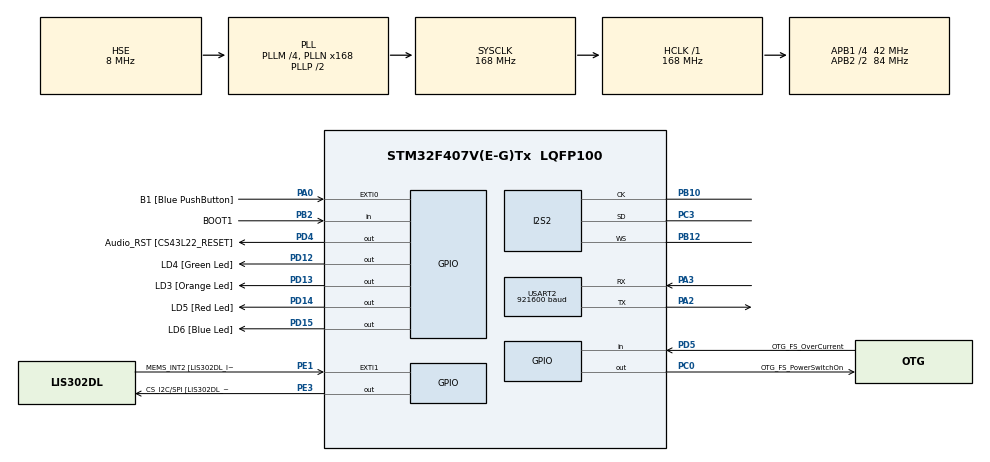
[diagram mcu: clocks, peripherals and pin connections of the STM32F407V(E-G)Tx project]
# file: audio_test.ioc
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Dma.Request0=SPI2_RX
Dma.SPI2_RX.0.Direction=DMA_PERIPH_TO_MEMORY
Dma.SPI2_RX.0.FIFOMode=DMA_FIFOMODE_DISABLE
Dma.SPI2_RX.0.Instance=DMA1_Stream3
Dma.SPI2_RX.0.MemDataAlignment=DMA_MDATAALIGN_HALFWORD
Dma.SPI2_RX.0.MemInc=DMA_MINC_ENABLE
Dma.SPI2_RX.0.Mode=DMA_CIRCULAR
Dma.SPI2_RX.0.PeriphDataAlignment=DMA_PDATAALIGN_HALFWORD
Dma.SPI2_RX.0.PeriphInc=DMA_PINC_DISABLE
Dma.SPI2_RX.0.Priority=DMA_PRIORITY_VERY_HIGH
I2S2.AudioFreq=I2S_AUDIOFREQ_32K
I2S2.ErrorAudioFreq=-0.35 %
I2S2.FullDuplexMode=I2S_FULLDUPLEXMODE_DISABLE
I2S2.Instance=SPI$Index
I2S2.Mode=I2S_MODE_MASTER_RX
I2S2.RealAudioFreq=31.887 KHz
I2S2.Standard=I2S_STANDARD_MSB
I2S2.VirtualMode=I2S_MODE_MASTER
Mcu.Family=STM32F4
Mcu.Name=STM32F407V(E-G)Tx
Mcu.Package=LQFP100
NVIC.DMA1_Stream3_IRQn=true\:0\:0\:false\:false\:true\:false\:true\:true
NVIC.PriorityGroup=NVIC_PRIORITYGROUP_4
NVIC.TIM7_IRQn=true\:15\:0\:false\:false\:true\:false\:true\:true
NVIC.TimeBase=TIM7_IRQn
NVIC.TimeBaseIP=TIM7
PA0-WKUP.GPIO_Label=B1 [Blue PushButton]
PA0-WKUP.Signal=GPXTI0
PA10.GPIO_Label=OTG_FS_ID
PA10.GPIO_Mode=GPIO_MODE_AF_PP
PA10.GPIO_PuPd=GPIO_NOPULL
PA10.GPIO_Speed=GPIO_SPEED_FREQ_LOW
PA10.Signal=USB_OTG_FS_ID
PA11.GPIO_Label=OTG_FS_DM
PA11.GPIO_Mode=GPIO_MODE_AF_PP
PA11.GPIO_PuPd=GPIO_NOPULL
PA11.GPIO_Speed=GPIO_SPEED_FREQ_LOW
PA11.Signal=USB_OTG_FS_DM
PA12.GPIO_Label=OTG_FS_DP
PA12.GPIO_Mode=GPIO_MODE_AF_PP
PA12.GPIO_PuPd=GPIO_NOPULL
PA12.GPIO_Speed=GPIO_SPEED_FREQ_LOW
PA12.Signal=USB_OTG_FS_DP
PA13.GPIO_Label=SWDIO
PA13.Mode=Trace_Asynchronous_SW
PA13.Signal=SYS_JTMS-SWDIO
PA14.GPIO_Label=SWCLK
PA14.Mode=Trace_Asynchronous_SW
PA14.Signal=SYS_JTCK-SWCLK
PA2.Mode=Asynchronous
PA2.Signal=USART2_TX
PA3.Mode=Asynchronous
PA3.Signal=USART2_RX
PA4.GPIO_Label=I2S3_WS [CS43L22_LRCK]
PA4.GPIO_Mode=GPIO_MODE_AF_PP
PA4.GPIO_PuPd=GPIO_NOPULL
PA4.GPIO_Speed=GPIO_SPEED_FREQ_LOW
PA4.Signal=I2S3_WS
PA5.GPIO_Label=SPI1_SCK [LIS302DL_SCL/SPC]
PA5.GPIO_Mode=GPIO_MODE_AF_PP
PA5.GPIO_PuPd=GPIO_NOPULL
PA5.GPIO_Speed=GPIO_SPEED_FREQ_LOW
PA5.Signal=SPI1_SCK
PA6.GPIO_Label=SPI1_MISO [LIS302DL_SDO]
PA6.GPIO_Mode=GPIO_MODE_AF_PP
PA6.GPIO_PuPd=GPIO_NOPULL
PA6.GPIO_Speed=GPIO_SPEED_FREQ_LOW
PA6.Signal=SPI1_MISO
PA7.GPIO_Label=SPI1_MOSI [LIS302DL_SDA/SDI/SDO]
PA7.GPIO_Mode=GPIO_MODE_AF_PP
PA7.GPIO_PuPd=GPIO_NOPULL
PA7.GPIO_Speed=GPIO_SPEED_FREQ_LOW
PA7.Signal=SPI1_MOSI
PA9.GPIO_Label=VBUS_FS
PA9.GPIO_Mode=GPIO_MODE_INPUT
PA9.GPIO_PuPd=GPIO_NOPULL
PA9.Signal=USB_OTG_FS_VBUS
PB10.GPIO_Mode=GPIO_MODE_AF_PP
PB10.GPIO_PuPd=GPIO_NOPULL
PB10.GPIO_Speed=GPIO_SPEED_FREQ_LOW
PB10.Mode=Half_Duplex_Master
PB10.Signal=I2S2_CK
PB12.Mode=Half_Duplex_Master
PB12.Signal=I2S2_WS
PB2.GPIO_Label=BOOT1
PB2.GPIO_Mode=GPIO_MODE_INPUT
PB2.GPIO_PuPd=GPIO_NOPULL
PB2.Signal=GPIO_Input
PB3.GPIO_Label=SWO
PB3.Mode=Trace_Asynchronous_SW
PB3.Signal=SYS_JTDO-SWO
PB6.GPIO_Label=Audio_SCL [CS43L22_SCL]
PB6.GPIO_Mode=GPIO_MODE_AF_OD
PB6.GPIO_PuPd=GPIO_NOPULL
PB6.GPIO_Speed=GPIO_SPEED_FREQ_LOW
PB6.Signal=I2C1_SCL
PB9.GPIO_Label=Audio_SDA [CS43L22_SDA]
PB9.GPIO_Mode=GPIO_MODE_AF_OD
PB9.GPIO_PuPd=GPIO_NOPULL
PB9.GPIO_Speed=GPIO_SPEED_FREQ_LOW
PB9.Signal=I2C1_SDA
PC0.GPIO_Label=OTG_FS_PowerSwitchOn
PC0.GPIO_PuPd=GPIO_NOPULL
PC0.GPIO_Speed=GPIO_SPEED_FREQ_LOW
PC0.PinState=GPIO_PIN_SET
PC0.Signal=GPIO_Output
PC10.GPIO_Label=I2S3_SCK [CS43L22_SCLK]
PC10.GPIO_Mode=GPIO_MODE_AF_PP
PC10.GPIO_PuPd=GPIO_NOPULL
PC10.GPIO_Speed=GPIO_SPEED_FREQ_LOW
PC10.Signal=I2S3_CK
PC12.GPIO_Label=I2S3_SD [CS43L22_SDIN]
PC12.GPIO_Mode=GPIO_MODE_AF_PP
PC12.GPIO_PuPd=GPIO_NOPULL
PC12.GPIO_Speed=GPIO_SPEED_FREQ_LOW
PC12.Signal=I2S3_SD
PC14-OSC32_IN.GPIO_Label=PC14-OSC32_IN
PC14-OSC32_IN.Signal=RCC_OSC32_IN
PC15-OSC32_OUT.GPIO_Label=PC15-OSC32_OUT
PC15-OSC32_OUT.Signal=RCC_OSC32_OUT
PC3.GPIO_Mode=GPIO_MODE_AF_PP
PC3.GPIO_PuPd=GPIO_NOPULL
PC3.GPIO_Speed=GPIO_SPEED_FREQ_LOW
PC3.Mode=Half_Duplex_Master
PC3.Signal=I2S2_SD
PC7.GPIO_Label=I2S3_MCK [CS43L22_MCLK]
PC7.GPIO_Mode=GPIO_MODE_AF_PP
PC7.GPIO_PuPd=GPIO_NOPULL
PC7.GPIO_Speed=GPIO_SPEED_FREQ_LOW
PC7.Signal=I2S3_MCK
PD12.GPIO_Label=LD4 [Green Led]
PD12.GPIO_PuPd=GPIO_NOPULL
PD12.GPIO_Speed=GPIO_SPEED_FREQ_LOW
PD12.Signal=GPIO_Output
PD13.GPIO_Label=LD3 [Orange Led]
PD13.GPIO_PuPd=GPIO_NOPULL
PD13.GPIO_Speed=GPIO_SPEED_FREQ_LOW
PD13.Signal=GPIO_Output
PD14.GPIO_Label=LD5 [Red Led]
PD14.GPIO_PuPd=GPIO_NOPULL
PD14.GPIO_Speed=GPIO_SPEED_FREQ_LOW
PD14.Signal=GPIO_Output
PD15.GPIO_Label=LD6 [Blue Led]
PD15.GPIO_PuPd=GPIO_NOPULL
PD15.GPIO_Speed=GPIO_SPEED_FREQ_LOW
PD15.Signal=GPIO_Output
PD4.GPIO_Label=Audio_RST [CS43L22_RESET]
PD4.GPIO_PuPd=GPIO_NOPULL
PD4.GPIO_Speed=GPIO_SPEED_FREQ_LOW
PD4.Signal=GPIO_Output
PD5.GPIO_Label=OTG_FS_OverCurrent
PD5.GPIO_Mode=GPIO_MODE_INPUT
PD5.GPIO_PuPd=GPIO_NOPULL
PD5.Signal=GPIO_Input
PDM2PCM.CHANNEL1_endianness=PDM_FILTER_ENDIANNESS_LE
PDM2PCM.CHANNEL1_in_ptr_channels=1
PDM2PCM.CHANNEL1_mic_gain=20
PDM2PCM.CHANNEL1_out_ptr_channels=1
PE1.GPIO_Label=MEMS_INT2 [LIS302DL_INT2]
PE1.GPIO_ModeDefaultEXTI=GPIO_MODE_EVT_RISING
PE1.GPIO_PuPd=GPIO_NOPULL
PE1.Signal=GPXTI1
PE3.GPIO_Label=CS_I2C/SPI [LIS302DL_CS_I2C/SPI]
PE3.GPIO_PuPd=GPIO_NOPULL
PE3.GPIO_Speed=GPIO_SPEED_FREQ_LOW
PE3.Signal=GPIO_Output
PH0-OSC_IN.GPIO_Label=PH0-OSC_IN
PH0-OSC_IN.Mode=HSE-External-Oscillator
PH0-OSC_IN.Signal=RCC_OSC_IN
PH1-OSC_OUT.GPIO_Label=PH1-OSC_OUT
PH1-OSC_OUT.Mode=HSE-External-Oscillator
PH1-OSC_OUT.Signal=RCC_OSC_OUT
ProjectManager.HeapSize=0x200
ProjectManager.StackSize=0x400
ProjectManager.TargetToolchain=STM32CubeIDE
RCC.48MHZClocksFreq_Value=48000000
RCC.AHBFreq_Value=168000000
RCC.APB1CLKDivider=RCC_HCLK_DIV4
RCC.APB1Freq_Value=42000000
RCC.APB1TimFreq_Value=84000000
RCC.APB2CLKDivider=RCC_HCLK_DIV2
RCC.APB2Freq_Value=84000000
RCC.APB2TimFreq_Value=168000000
RCC.CortexFreq_Value=168000000
RCC.HCLKFreq_Value=168000000
RCC.HSE_VALUE=8000000
RCC.HSI_VALUE=16000000
RCC.LSE_VALUE=32768
RCC.PLLI2SN=50
RCC.PLLM=4
RCC.PLLN=168
RCC.PLLQ=7
RCC.PLLSourceVirtual=RCC_PLLSOURCE_HSE
RCC.SYSCLKFreq_VALUE=168000000
RCC.SYSCLKSource=RCC_SYSCLKSOURCE_PLLCLK
RCC.VCOOutputFreq_Value=336000000
USART2.BaudRate=921600
USART2.VirtualMode=VM_ASYNC
VP_CRC_VS_CRC.Mode=CRC_Activate
VP_PDM2PCM_VS_PDM2PCM.Mode=PDM2PCM_Channel
VP_SYS_VS_tim7.Mode=TIM7
board=STM32F407G-DISC1

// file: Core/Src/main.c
/* USER CODE BEGIN Header */
/**
  ******************************************************************************
  * @file           : main.c
  * @brief          : Main program body
  ******************************************************************************
  * @attention
  *
  * Copyright (c) 2026 STMicroelectronics.
  * All rights reserved.
  *
  * This software is licensed under terms that can be found in the LICENSE file
  * in the root directory of this software component.
  * If no LICENSE file comes with this software, it is provided AS-IS.
  *
  ******************************************************************************
  */
/* USER CODE END Header */
#include "main.h"
#include "pdm2pcm.h"

/* USER CODE BEGIN Includes */
#include <string.h>
/* USER CODE END Includes */

CRC_HandleTypeDef hcrc;

I2S_HandleTypeDef hi2s2;
DMA_HandleTypeDef hdma_spi2_rx;

UART_HandleTypeDef huart2;

/* USER CODE BEGIN PV */
#define PDM_BUFFER_SIZE 128  // 64 * 2 (Ping-Pong)
#define PCM_BUFFER_SIZE 32   // 16 * 2 (Ping-Pong)
#define RECORD_LENGTH 32000  // 2 seconds recording (16kHz)

uint16_t PDM_Rx_Buffer[PDM_BUFFER_SIZE];
int16_t PCM_Out_Buffer[PCM_BUFFER_SIZE];
//int16_t Record_Buffer[RECORD_LENGTH];
int16_t pcm_input_2s[RECORD_LENGTH];
uint32_t record_index = 0;
//uint8_t is_recording = 1;    // 錄音開關

volatile uint8_t pcm_data_ready = 0;
volatile uint8_t pcm_half_or_full = 0; // 0: First half ready, 1: Second half ready
volatile uint8_t dsp_run_flag = 0; // Flag to notify main loop: 2 seconds of data is ready, run DSP

extern I2S_HandleTypeDef hi2s2;
extern PDM_Filter_Handler_t PDM1_filter_handler;
/* USER CODE END PV */

void SystemClock_Config(void);
static void MX_GPIO_Init(void);
static void MX_DMA_Init(void);
static void MX_CRC_Init(void);
static void MX_I2S2_Init(void);
static void MX_USART2_UART_Init(void);

int main(void)
{

  /* MCU Configuration--------------------------------------------------------*/

  /* Reset of all peripherals, Initializes the Flash interface and the Systick. */
  HAL_Init();

  /* Configure the system clock */
  SystemClock_Config();

  /* Initialize all configured peripherals */
  MX_GPIO_Init();
  MX_DMA_Init();
  MX_CRC_Init();
  MX_I2S2_Init();
  MX_USART2_UART_Init();
  MX_PDM2PCM_Init();
  /* USER CODE BEGIN 2 */
  HAL_I2S_Receive_DMA(&hi2s2, PDM_Rx_Buffer, PDM_BUFFER_SIZE);
  /* USER CODE END 2 */

  /* Infinite loop */
  /* USER CODE BEGIN WHILE */
  while (1)
  {
//	if (pcm_data_ready == 1){
//	  pcm_data_ready = 0;
//
//	  if (is_recording == 1)
//	  {
//		// 判斷是前半部還是後半部準備好了
//		uint32_t offset = (pcm_half_or_full == 0) ? 0 : (PCM_BUFFER_SIZE / 2);
//
//		// 將 16 個 PCM 數據複製到大陣列中
//		for (int i = 0; i < (PCM_BUFFER_SIZE / 2); i++)
//		{
//		  if (record_index < RECORD_LENGTH)
//		  {
//			Record_Buffer[record_index++] = (int16_t)PCM_Out_Buffer[offset + i];
//		  }
//		  else
//		  {
//			is_recording = 0; // 錄滿 1 秒，停止錄音
//			break;            // 可以在這行設定中斷點！
//		  }
//		}
//	  }
//	}
	  // --- Phase 1：Collect audio data from hardware DMA ---
	  if (pcm_data_ready == 1)
	  {
		pcm_data_ready = 0;
		uint32_t offset = (pcm_half_or_full == 0) ? 0 : (PCM_BUFFER_SIZE / 2);

		for (int i = 0; i < (PCM_BUFFER_SIZE / 2); i++)
		{
		  pcm_input_2s[record_index++] = (int16_t)PCM_Out_Buffer[offset + i];

		  // When 2 seconds (32000 samples) of data is collected
		  if (record_index >= RECORD_LENGTH)
		  {
			dsp_run_flag = 1; // Set flag to trigger DSP execution below

			// [Core Sliding Window Operation]
			// Move the recent 1 second (16000 ~ 31999) to the first half (0 ~ 15999)
			memcpy(&pcm_input_2s[0], &pcm_input_2s[16000], 16000 * sizeof(int16_t));

			// Reset index to the midpoint so new audio overwrites from 16000
			record_index = 16000;
		  }
		}
	  }

	  // --- Phase 2：Run DSP & MFCC Extraction and Model Inference ---
	  if (dsp_run_flag == 1)
	  {
		dsp_run_flag = 0;

		// Call your DSP function(?
		// Eg:
		// teammate_dsp_function(pcm_input_2s);
	  }
    /* USER CODE END WHILE */

  }
}

void SystemClock_Config(void)
{
  RCC_OscInitTypeDef RCC_OscInitStruct = {0};
  RCC_ClkInitTypeDef RCC_ClkInitStruct = {0};

  /** Configure the main internal regulator output voltage
  */
  __HAL_RCC_PWR_CLK_ENABLE();
  __HAL_PWR_VOLTAGESCALING_CONFIG(PWR_REGULATOR_VOLTAGE_SCALE1);

  /** Initializes the RCC Oscillators according to the specified parameters
  * in the RCC_OscInitTypeDef structure.
  */
  RCC_OscInitStruct.OscillatorType = RCC_OSCILLATORTYPE_HSE;
  RCC_OscInitStruct.HSEState = RCC_HSE_ON;
  RCC_OscInitStruct.PLL.PLLState = RCC_PLL_ON;
  RCC_OscInitStruct.PLL.PLLSource = RCC_PLLSOURCE_HSE;
  RCC_OscInitStruct.PLL.PLLM = 4;
  RCC_OscInitStruct.PLL.PLLN = 168;
  RCC_OscInitStruct.PLL.PLLP = RCC_PLLP_DIV2;
  RCC_OscInitStruct.PLL.PLLQ = 7;
  if (HAL_RCC_OscConfig(&RCC_OscInitStruct) != HAL_OK)
  {
    Error_Handler();
  }

  /** Initializes the CPU, AHB and APB buses clocks
  */
  RCC_ClkInitStruct.ClockType = RCC_CLOCKTYPE_HCLK|RCC_CLOCKTYPE_SYSCLK
                              |RCC_CLOCKTYPE_PCLK1|RCC_CLOCKTYPE_PCLK2;
  RCC_ClkInitStruct.SYSCLKSource = RCC_SYSCLKSOURCE_PLLCLK;
  RCC_ClkInitStruct.AHBCLKDivider = RCC_SYSCLK_DIV1;
  RCC_ClkInitStruct.APB1CLKDivider = RCC_HCLK_DIV4;
  RCC_ClkInitStruct.APB2CLKDivider = RCC_HCLK_DIV2;

  if (HAL_RCC_ClockConfig(&RCC_ClkInitStruct, FLASH_LATENCY_5) != HAL_OK)
  {
    Error_Handler();
  }
}

static void MX_CRC_Init(void)
{

  hcrc.Instance = CRC;
  if (HAL_CRC_Init(&hcrc) != HAL_OK)
  {
    Error_Handler();
  }
  __HAL_CRC_DR_RESET(&hcrc);

}

static void MX_I2S2_Init(void)
{

  hi2s2.Instance = SPI2;
  hi2s2.Init.Mode = I2S_MODE_MASTER_RX;
  hi2s2.Init.Standard = I2S_STANDARD_MSB;
  hi2s2.Init.DataFormat = I2S_DATAFORMAT_16B;
  hi2s2.Init.MCLKOutput = I2S_MCLKOUTPUT_DISABLE;
  hi2s2.Init.AudioFreq = I2S_AUDIOFREQ_32K;
  hi2s2.Init.CPOL = I2S_CPOL_LOW;
  hi2s2.Init.ClockSource = I2S_CLOCK_PLL;
  hi2s2.Init.FullDuplexMode = I2S_FULLDUPLEXMODE_DISABLE;
  if (HAL_I2S_Init(&hi2s2) != HAL_OK)
  {
    Error_Handler();
  }

}

static void MX_USART2_UART_Init(void)
{

  huart2.Instance = USART2;
  huart2.Init.BaudRate = 921600;
  huart2.Init.WordLength = UART_WORDLENGTH_8B;
  huart2.Init.StopBits = UART_STOPBITS_1;
  huart2.Init.Parity = UART_PARITY_NONE;
  huart2.Init.Mode = UART_MODE_TX_RX;
  huart2.Init.HwFlowCtl = UART_HWCONTROL_NONE;
  huart2.Init.OverSampling = UART_OVERSAMPLING_16;
  if (HAL_UART_Init(&huart2) != HAL_OK)
  {
    Error_Handler();
  }

}

static void MX_DMA_Init(void)
{

  /* DMA controller clock enable */
  __HAL_RCC_DMA1_CLK_ENABLE();

  /* DMA interrupt init */
  /* DMA1_Stream3_IRQn interrupt configuration */
  HAL_NVIC_SetPriority(DMA1_Stream3_IRQn, 0, 0);
  HAL_NVIC_EnableIRQ(DMA1_Stream3_IRQn);

}

static void MX_GPIO_Init(void)
{
  GPIO_InitTypeDef GPIO_InitStruct = {0};

  /* GPIO Ports Clock Enable */
  __HAL_RCC_GPIOE_CLK_ENABLE();
  __HAL_RCC_GPIOC_CLK_ENABLE();
  __HAL_RCC_GPIOH_CLK_ENABLE();
  __HAL_RCC_GPIOA_CLK_ENABLE();
  __HAL_RCC_GPIOB_CLK_ENABLE();
  __HAL_RCC_GPIOD_CLK_ENABLE();

  /*Configure GPIO pin Output Level */
  HAL_GPIO_WritePin(CS_I2C_SPI_GPIO_Port, CS_I2C_SPI_Pin, GPIO_PIN_RESET);

  /*Configure GPIO pin Output Level */
  HAL_GPIO_WritePin(OTG_FS_PowerSwitchOn_GPIO_Port, OTG_FS_PowerSwitchOn_Pin, GPIO_PIN_SET);

  /*Configure GPIO pin Output Level */
  HAL_GPIO_WritePin(GPIOD, LD4_Pin|LD3_Pin|LD5_Pin|LD6_Pin
                          |Audio_RST_Pin, GPIO_PIN_RESET);

  /*Configure GPIO pin : CS_I2C_SPI_Pin */
  GPIO_InitStruct.Pin = CS_I2C_SPI_Pin;
  GPIO_InitStruct.Mode = GPIO_MODE_OUTPUT_PP;
  GPIO_InitStruct.Pull = GPIO_NOPULL;
  GPIO_InitStruct.Speed = GPIO_SPEED_FREQ_LOW;
  HAL_GPIO_Init(CS_I2C_SPI_GPIO_Port, &GPIO_InitStruct);

  /*Configure GPIO pin : OTG_FS_PowerSwitchOn_Pin */
  GPIO_InitStruct.Pin = OTG_FS_PowerSwitchOn_Pin;
  GPIO_InitStruct.Mode = GPIO_MODE_OUTPUT_PP;
  GPIO_InitStruct.Pull = GPIO_NOPULL;
  GPIO_InitStruct.Speed = GPIO_SPEED_FREQ_LOW;
  HAL_GPIO_Init(OTG_FS_PowerSwitchOn_GPIO_Port, &GPIO_InitStruct);

  /*Configure GPIO pin : B1_Pin */
  GPIO_InitStruct.Pin = B1_Pin;
  GPIO_InitStruct.Mode = GPIO_MODE_IT_RISING;
  GPIO_InitStruct.Pull = GPIO_NOPULL;
  HAL_GPIO_Init(B1_GPIO_Port, &GPIO_InitStruct);

  /*Configure GPIO pin : I2S3_WS_Pin */
  GPIO_InitStruct.Pin = I2S3_WS_Pin;
  GPIO_InitStruct.Mode = GPIO_MODE_AF_PP;
  GPIO_InitStruct.Pull = GPIO_NOPULL;
  GPIO_InitStruct.Speed = GPIO_SPEED_FREQ_LOW;
  GPIO_InitStruct.Alternate = GPIO_AF6_SPI3;
  HAL_GPIO_Init(I2S3_WS_GPIO_Port, &GPIO_InitStruct);

  /*Configure GPIO pins : SPI1_SCK_Pin SPI1_MISO_Pin SPI1_MOSI_Pin */
  GPIO_InitStruct.Pin = SPI1_SCK_Pin|SPI1_MISO_Pin|SPI1_MOSI_Pin;
  GPIO_InitStruct.Mode = GPIO_MODE_AF_PP;
  GPIO_InitStruct.Pull = GPIO_NOPULL;
  GPIO_InitStruct.Speed = GPIO_SPEED_FREQ_LOW;
  GPIO_InitStruct.Alternate = GPIO_AF5_SPI1;
  HAL_GPIO_Init(GPIOA, &GPIO_InitStruct);

  /*Configure GPIO pin : BOOT1_Pin */
  GPIO_InitStruct.Pin = BOOT1_Pin;
  GPIO_InitStruct.Mode = GPIO_MODE_INPUT;
  GPIO_InitStruct.Pull = GPIO_NOPULL;
  HAL_GPIO_Init(BOOT1_GPIO_Port, &GPIO_InitStruct);

  /*Configure GPIO pins : LD4_Pin LD3_Pin LD5_Pin LD6_Pin
                           Audio_RST_Pin */
  GPIO_InitStruct.Pin = LD4_Pin|LD3_Pin|LD5_Pin|LD6_Pin
                          |Audio_RST_Pin;
  GPIO_InitStruct.Mode = GPIO_MODE_OUTPUT_PP;
  GPIO_InitStruct.Pull = GPIO_NOPULL;
  GPIO_InitStruct.Speed = GPIO_SPEED_FREQ_LOW;
  HAL_GPIO_Init(GPIOD, &GPIO_InitStruct);

  /*Configure GPIO pins : I2S3_MCK_Pin I2S3_SCK_Pin I2S3_SD_Pin */
  GPIO_InitStruct.Pin = I2S3_MCK_Pin|I2S3_SCK_Pin|I2S3_SD_Pin;
  GPIO_InitStruct.Mode = GPIO_MODE_AF_PP;
  GPIO_InitStruct.Pull = GPIO_NOPULL;
  GPIO_InitStruct.Speed = GPIO_SPEED_FREQ_LOW;
  GPIO_InitStruct.Alternate = GPIO_AF6_SPI3;
  HAL_GPIO_Init(GPIOC, &GPIO_InitStruct);

  /*Configure GPIO pin : VBUS_FS_Pin */
  GPIO_InitStruct.Pin = VBUS_FS_Pin;
  GPIO_InitStruct.Mode = GPIO_MODE_INPUT;
  GPIO_InitStruct.Pull = GPIO_NOPULL;
  HAL_GPIO_Init(VBUS_FS_GPIO_Port, &GPIO_InitStruct);

  /*Configure GPIO pins : OTG_FS_ID_Pin OTG_FS_DM_Pin OTG_FS_DP_Pin */
  GPIO_InitStruct.Pin = OTG_FS_ID_Pin|OTG_FS_DM_Pin|OTG_FS_DP_Pin;
  GPIO_InitStruct.Mode = GPIO_MODE_AF_PP;
  GPIO_InitStruct.Pull = GPIO_NOPULL;
  GPIO_InitStruct.Speed = GPIO_SPEED_FREQ_LOW;
  GPIO_InitStruct.Alternate = GPIO_AF10_OTG_FS;
  HAL_GPIO_Init(GPIOA, &GPIO_InitStruct);

  /*Configure GPIO pin : OTG_FS_OverCurrent_Pin */
  GPIO_InitStruct.Pin = OTG_FS_OverCurrent_Pin;
  GPIO_InitStruct.Mode = GPIO_MODE_INPUT;
  GPIO_InitStruct.Pull = GPIO_NOPULL;
  HAL_GPIO_Init(OTG_FS_OverCurrent_GPIO_Port, &GPIO_InitStruct);

  /*Configure GPIO pins : Audio_SCL_Pin Audio_SDA_Pin */
  GPIO_InitStruct.Pin = Audio_SCL_Pin|Audio_SDA_Pin;
  GPIO_InitStruct.Mode = GPIO_MODE_AF_OD;
  GPIO_InitStruct.Pull = GPIO_NOPULL;
  GPIO_InitStruct.Speed = GPIO_SPEED_FREQ_LOW;
  GPIO_InitStruct.Alternate = GPIO_AF4_I2C1;
  HAL_GPIO_Init(GPIOB, &GPIO_InitStruct);

  /*Configure GPIO pin : MEMS_INT2_Pin */
  GPIO_InitStruct.Pin = MEMS_INT2_Pin;
  GPIO_InitStruct.Mode = GPIO_MODE_EVT_RISING;
  GPIO_InitStruct.Pull = GPIO_NOPULL;
  HAL_GPIO_Init(MEMS_INT2_GPIO_Port, &GPIO_InitStruct);

}

/* USER CODE BEGIN 4 */
// 當 DMA 填滿前半部緩衝區時觸發 (Half Complete)
void HAL_I2S_RxHalfCpltCallback(I2S_HandleTypeDef *hi2s)
{
  if(hi2s->Instance == SPI2)
  {
    // 將前半部的 PDM 資料轉換為 PCM
    // 注意：ST 的 PDM_Filter 函式第一個參數通常吃 uint8_t*，所以要轉型
    PDM_Filter((uint8_t*)&PDM_Rx_Buffer[0],
               &PCM_Out_Buffer[0],
               &PDM1_filter_handler);

    // 設定旗標，通知主迴圈前半部資料準備好了
    pcm_data_ready = 1;
    pcm_half_or_full = 0;
  }
}

// 當 DMA 填滿後半部緩衝區時觸發 (Full Complete)
void HAL_I2S_RxCpltCallback(I2S_HandleTypeDef *hi2s)
{
  if(hi2s->Instance == SPI2)
  {
    // 將後半部的 PDM 資料轉換為 PCM
    PDM_Filter((uint8_t*)&PDM_Rx_Buffer[PDM_BUFFER_SIZE / 2],
               &PCM_Out_Buffer[PCM_BUFFER_SIZE / 2],
               &PDM1_filter_handler);

    // 設定旗標，通知主迴圈後半部資料準備好了
    pcm_data_ready = 1;
    pcm_half_or_full = 1;
  }
}
/* USER CODE END 4 */

void HAL_TIM_PeriodElapsedCallback(TIM_HandleTypeDef *htim)
{
  if (htim->Instance == TIM7) {
    HAL_IncTick();
  }
}

void Error_Handler(void)
{
  __disable_irq();
  while (1)
  {
  }
}
